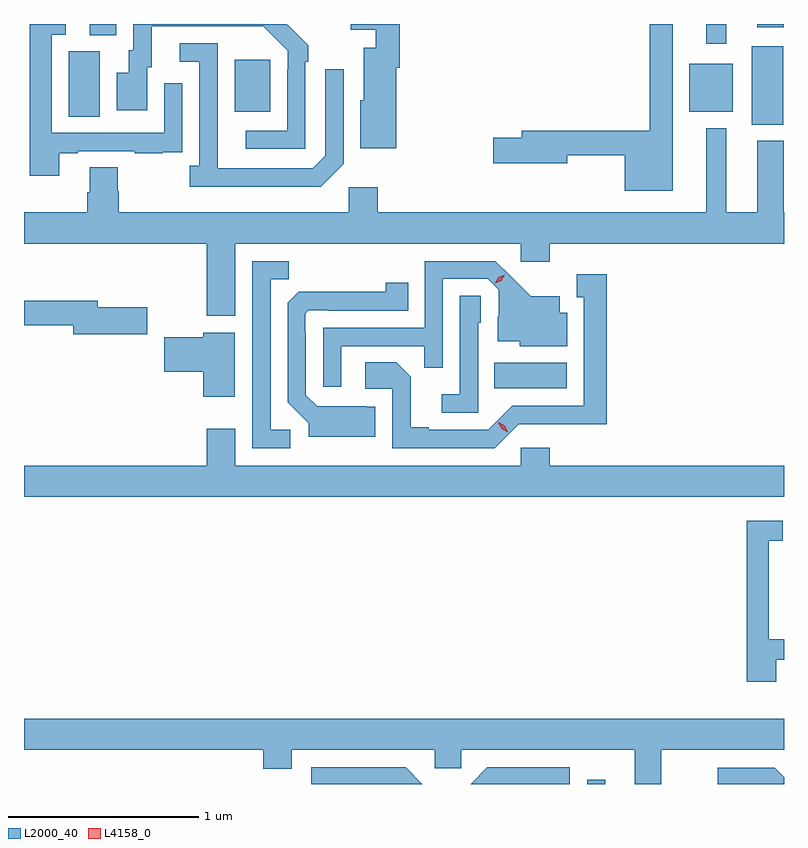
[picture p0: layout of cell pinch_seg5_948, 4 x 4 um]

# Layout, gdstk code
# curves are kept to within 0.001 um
import gdstk
lib = gdstk.Library(unit=1e-6, precision=1e-09)
def R(c, l, rs):  # rectangles x0, y0, x1, y1
    for r in rs: c.add(gdstk.rectangle(r[:2], r[2:], *l))
def P(c, l, *ps):  # polygons
    for p in ps: c.add(gdstk.Polygon(p, *l))
L2000_40 = (2000, 40)
L4158_0 = (4158, 0)

pinch_seg5_948 = lib.new_cell('pinch_seg5_948')
R(pinch_seg5_948, L2000_40, [(737.035,911.192,737.131,911.215), (736.546,913.274,736.927,913.408), (737.9,914.663,738.067,915.076), (734.306,914.704,734.47,915.048), (735.179,914.729,735.367,915.004), (737.573,914.729,737.8,914.983), (737.663,915.087,737.767,915.192), (734.417,915.133,734.557,915.192), (737.93,915.174,738.07,915.192)])
P(pinch_seg5_948, L2000_40, [(736.03,914.963),(736.049,914.963),(736.049,915.192),(735.792,915.192),(735.792,915.162),(735.921,915.162),(735.921,915.067),(735.86,915.067),(735.86,914.79),(735.842,914.79),(735.842,914.537),(736.03,914.537)],
  [(734.257,914.511),(734.353,914.511),(734.353,914.523),(734.653,914.523),(734.653,914.511),(734.801,914.511),(734.801,914.517),(734.903,914.517),(734.903,914.626),(734.904,914.626),(734.904,914.881),(734.808,914.881),(734.808,914.619),(734.217,914.619),(734.217,915.135),(734.29,915.135),(734.29,915.192),(734.101,915.192),(734.101,914.394),(734.257,914.394)],
  [(737.485,915.192),(737.364,915.192),(737.364,914.63),(736.691,914.63),(736.691,914.594),(736.542,914.594),(736.542,914.459),(736.93,914.459),(736.93,914.502),(737.234,914.502),(737.234,914.315),(737.485,914.315)],
  [(735.552,914.993),(735.567,914.993),(735.567,915.081),(735.462,915.186),(735.461,915.185),(735.454,915.192),(734.646,915.192),(734.646,915.054),(734.621,915.054),(734.621,914.935),(734.558,914.935),(734.558,914.739),(734.719,914.739),(734.719,914.964),(734.743,914.964),(734.743,915.18),(735.331,915.18),(735.459,915.051),(735.459,914.951),(735.456,914.951),(735.456,914.631),(735.237,914.631),(735.237,914.535),(735.552,914.535)],
  [(735.753,914.457),(735.753,914.953),(735.657,914.953),(735.657,914.499),(735.591,914.433),(735.091,914.433),(735.09,915.09),(734.892,915.09),(734.892,914.994),(734.994,914.994),(734.994,914.446),(734.943,914.446),(734.943,914.336),(735.632,914.336)],
  [(735.932,914.332),(735.78,914.332),(735.78,914.2),(734.57,914.2),(734.57,914.313),(734.565,914.313),(734.565,914.438),(734.417,914.438),(734.417,914.306),(734.405,914.306),(734.405,914.2),(734.071,914.2),(734.071,914.036),(735.032,914.036),(735.032,913.656),(735.184,913.656),(735.184,914.036),(736.686,914.036),(736.686,913.941),(736.838,913.941),(736.838,914.036),(738.071,914.036),(738.071,914.2),(738.07,914.2),(738.07,914.578),(737.93,914.578),(737.93,914.2),(737.767,914.2),(737.767,914.644),(737.663,914.644),(737.663,914.2),(735.932,914.2)],
  [(735.741,913.497),(736.177,913.497),(736.177,913.384),(736.275,913.384),(736.275,913.851),(736.512,913.851),(736.569,913.794),(736.569,913.652),(736.565,913.652),(736.565,913.523),(736.68,913.523),(736.68,913.496),(736.93,913.496),(736.93,913.672),(736.891,913.672),(736.891,913.759),(736.739,913.759),(736.552,913.944),(736.179,913.944),(736.179,913.593),(735.645,913.593),(735.645,913.284),(735.741,913.284)],
  [(735.472,913.056),(735.369,913.056),(735.369,913.849),(735.465,913.849),(735.465,913.944),(735.273,913.944),(735.273,912.96),(735.472,912.96)],
  [(736.674,913.086),(737.137,913.085),(737.137,913.876),(736.979,913.876),(736.979,913.755),(737.018,913.755),(737.018,913.182),(736.641,913.182),(736.515,913.056),(736.201,913.056),(736.201,913.069),(736.107,913.069),(736.107,913.336),(736.031,913.412),(735.867,913.412),(735.867,913.272),(736.008,913.272),(736.008,912.96),(736.548,912.96)],
  [(735.919,913.177),(735.875,913.177),(735.872,913.18),(735.615,913.179),(735.555,913.239),(735.555,913.568),(735.552,913.568),(735.552,913.668),(735.57,913.686),(735.67,913.686),(735.67,913.683),(736.094,913.683),(736.094,913.831),(735.976,913.831),(735.976,913.784),(735.518,913.783),(735.459,913.724),(735.459,913.202),(735.569,913.092),(735.569,913.019),(735.919,913.019)],
  [(736.461,913.62),(736.476,913.62),(736.476,913.763),(736.365,913.763),(736.365,913.243),(736.269,913.243),(736.269,913.146),(736.461,913.146)],
  [(734.719,913.701),(734.458,913.701),(734.458,913.735),(734.071,913.735),(734.071,913.606),(734.33,913.606),(734.33,913.559),(734.719,913.559)],
  [(735.181,913.567),(735.014,913.567),(735.014,913.544),(734.808,913.544),(734.808,913.361),(735.014,913.361),(735.014,913.23),(735.181,913.23)],
  [(738.071,912.868),(736.838,912.868),(736.838,912.961),(736.686,912.961),(736.686,912.868),(735.184,912.868),(735.184,913.063),(735.032,913.063),(735.032,912.868),(734.071,912.868),(734.071,912.704),(738.071,912.704)],
  [(738.031,911.847),(738.071,911.847),(738.071,911.955),(737.991,911.955),(737.991,912.471),(738.064,912.471),(738.064,912.577),(737.875,912.577),(737.875,911.73),(738.031,911.73)],
  [(737.425,911.372),(738.071,911.372),(738.071,911.536),(734.071,911.536),(734.071,911.372),(735.329,911.372),(735.329,911.273),(735.481,911.273),(735.481,911.372),(736.233,911.372),(736.233,911.274),(736.371,911.274),(736.371,911.372),(737.285,911.372),(737.285,911.192),(737.425,911.192)],
  [(736.079,911.281),(735.582,911.281),(735.582,911.192),(736.168,911.192)],
  [(736.944,911.28),(736.509,911.28),(736.421,911.192),(736.944,911.192)],
  [(738.071,911.227),(738.021,911.277),(737.721,911.277),(737.721,911.192),(738.071,911.192)])
P(pinch_seg5_948, L4158_0, [(736.617,913.044),(736.586,913.063),(736.568,913.096),(736.568,913.096),(736.569,913.096),(736.6,913.077),(736.617,913.044),(736.617,913.044)],
  [(736.551,913.828),(736.551,913.829),(736.57,913.858),(736.6,913.872),(736.601,913.872),(736.601,913.871),(736.583,913.842),(736.552,913.828)])

lib.write_gds('pinch_seg5_948.gds')
